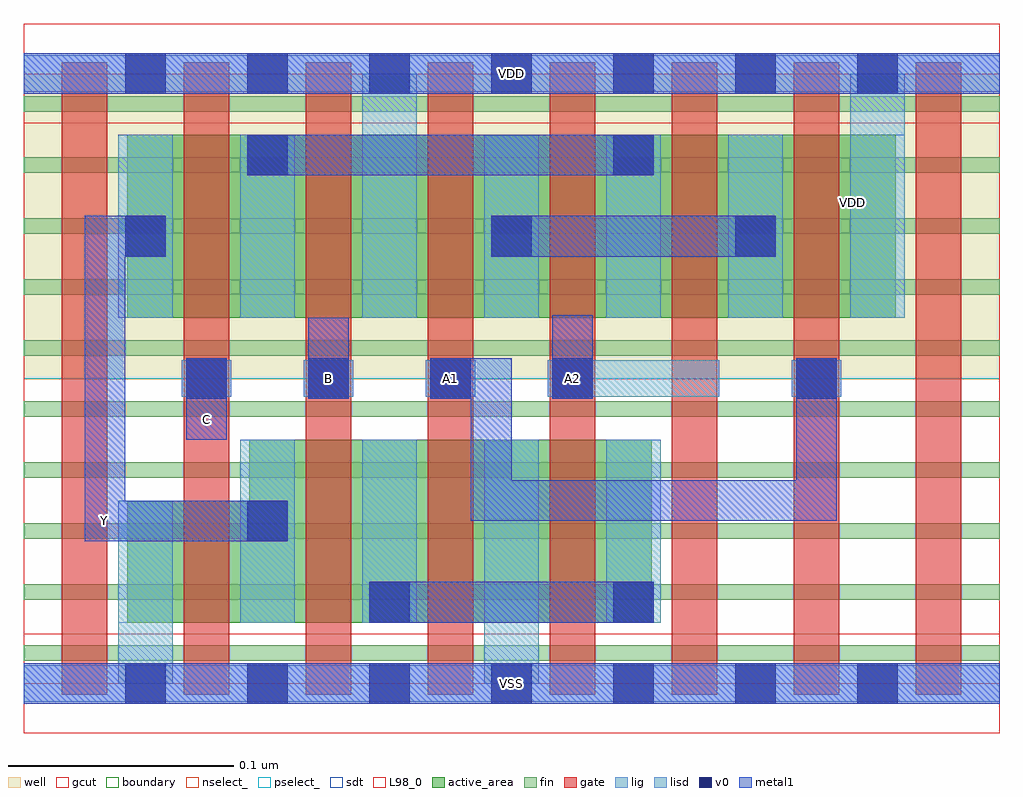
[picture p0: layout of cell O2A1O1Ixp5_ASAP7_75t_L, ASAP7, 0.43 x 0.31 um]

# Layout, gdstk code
import gdstk
lib = gdstk.Library(unit=1e-6, precision=2.5e-10)
def R(c, l, rs):  # rectangles x0, y0, x1, y1
    for r in rs: c.add(gdstk.rectangle(r[:2], r[2:], *l))
def A(c, l, x, y, w, h, nx, ny, dx, dy):  # array of equal rectangles
    R(c, l, [(x+i*dx, y+j*dy, x+i*dx+w, y+j*dy+h) for i in range(nx) for j in range(ny)])
def P(c, l, *ps):  # polygons
    for p in ps: c.add(gdstk.Polygon(p, *l))
well = (1, 0)
fin = (2, 0)
gate = (7, 0)
gcut = (10, 0)
active_area = (11, 0)
nselect_ = (12, 0)
pselect_ = (13, 0)
lig = (16, 0)
lisd = (17, 0)
v0 = (18, 0)
metal1 = (19, 0)
sdt = (88, 0)
L98_0 = (98, 0)
boundary = (100, 0)

o2a1o1ixp5_asap7_75t_l = lib.new_cell('O2A1O1Ixp5_ASAP7_75t_L')
R(o2a1o1ixp5_asap7_75t_l, well, [(0,0.135,0.432,0.27)])
A(o2a1o1ixp5_asap7_75t_l, fin, 0, 0.01, 0.432, 0.007, 1, 10, 0, 0.027)
A(o2a1o1ixp5_asap7_75t_l, gate, 0.017, -0.005, 0.02, 0.28, 8, 1, 0.054, 0)
R(o2a1o1ixp5_asap7_75t_l, gcut, [(0,-0.022,0.432,0.022), (0,0.248,0.432,0.292)])
R(o2a1o1ixp5_asap7_75t_l, active_area, [(0.046,0.162,0.386,0.243)])
P(o2a1o1ixp5_asap7_75t_l, active_area, [(0.046,0.027),(0.046,0.081),(0.1,0.081),(0.1,0.108),(0.278,0.108),(0.278,0.027)])
R(o2a1o1ixp5_asap7_75t_l, nselect_, [(0,0,0.432,0.135)])
R(o2a1o1ixp5_asap7_75t_l, pselect_, [(0,0.135,0.432,0.27)])
A(o2a1o1ixp5_asap7_75t_l, lig, 0.07, 0.127, 0.022, 0.016, 3, 1, 0.054, 0)
R(o2a1o1ixp5_asap7_75t_l, lig, [(0,-0.008,0.432,0.008), (0.232,0.127,0.308,0.143), (0.34,0.127,0.362,0.143), (0,0.262,0.432,0.278)])
A(o2a1o1ixp5_asap7_75t_l, lisd, 0.204, 0.162, 0.024, 0.081, 3, 1, 0.054, 0)
R(o2a1o1ixp5_asap7_75t_l, lisd, [(0.042,0,0.066,0.081), (0.204,0,0.228,0.108), (0.096,0.027,0.12,0.108), (0.15,0.027,0.174,0.108), (0.258,0.027,0.282,0.108), (0.042,0.162,0.066,0.243), (0.096,0.162,0.12,0.243), (0.15,0.162,0.174,0.27), (0.366,0.162,0.39,0.27)])
A(o2a1o1ixp5_asap7_75t_l, v0, 0.045, -0.009, 0.018, 0.018, 7, 2, 0.054, 0.27)
A(o2a1o1ixp5_asap7_75t_l, v0, 0.072, 0.126, 0.018, 0.018, 4, 1, 0.054, 0)
R(o2a1o1ixp5_asap7_75t_l, v0, [(0.153,0.027,0.171,0.045), (0.261,0.027,0.279,0.045), (0.099,0.063,0.117,0.081), (0.342,0.126,0.36,0.144), (0.045,0.189,0.063,0.207), (0.207,0.189,0.225,0.207), (0.315,0.189,0.333,0.207), (0.099,0.225,0.117,0.243), (0.261,0.225,0.279,0.243)])
R(o2a1o1ixp5_asap7_75t_l, metal1, [(0,-0.009,0.432,0.009), (0.153,0.027,0.279,0.045), (0.072,0.108,0.09,0.144), (0.126,0.126,0.144,0.162), (0.234,0.126,0.252,0.163), (0.207,0.189,0.333,0.207), (0.099,0.225,0.279,0.243), (0,0.261,0.432,0.279)])
P(o2a1o1ixp5_asap7_75t_l, metal1, [(0.198,0.072),(0.198,0.126),(0.18,0.126),(0.18,0.144),(0.216,0.144),(0.216,0.09),(0.342,0.09),(0.342,0.144),(0.36,0.144),(0.36,0.072)],
  [(0.027,0.063),(0.027,0.207),(0.063,0.207),(0.063,0.189),(0.045,0.189),(0.045,0.081),(0.117,0.081),(0.117,0.063)])
A(o2a1o1ixp5_asap7_75t_l, sdt, 0.096, 0.027, 0.024, 0.081, 4, 1, 0.054, 0)
A(o2a1o1ixp5_asap7_75t_l, sdt, 0.042, 0.162, 0.024, 0.081, 7, 1, 0.054, 0)
R(o2a1o1ixp5_asap7_75t_l, sdt, [(0.042,0.027,0.066,0.081)])
R(o2a1o1ixp5_asap7_75t_l, L98_0, [(0,0,0.432,0.27)])
R(o2a1o1ixp5_asap7_75t_l, boundary, [(0,0,0.432,0.27)])
o2a1o1ixp5_asap7_75t_l.add(gdstk.Label('Y', (0.036,0.072), layer=19, texttype=251))
o2a1o1ixp5_asap7_75t_l.add(gdstk.Label('C', (0.081,0.117), layer=19, texttype=251))
o2a1o1ixp5_asap7_75t_l.add(gdstk.Label('B', (0.135,0.135), layer=19, texttype=251))
o2a1o1ixp5_asap7_75t_l.add(gdstk.Label('A2', (0.243,0.135), layer=19, texttype=251))
o2a1o1ixp5_asap7_75t_l.add(gdstk.Label('A1', (0.189,0.135), layer=19, texttype=251))
o2a1o1ixp5_asap7_75t_l.add(gdstk.Label('VSS', (0.216,0), layer=19, texttype=251))
o2a1o1ixp5_asap7_75t_l.add(gdstk.Label('VDD', (0.216,0.27), layer=19, texttype=251))
o2a1o1ixp5_asap7_75t_l.add(gdstk.Label('VDD', (0.367,0.213), layer=1, texttype=251))
o2a1o1ixp5_asap7_75t_l.add(gdstk.Label('VSS', (0.497,0.213), layer=3, texttype=251))

lib.write_gds('O2A1O1Ixp5_ASAP7_75t_L.gds')
